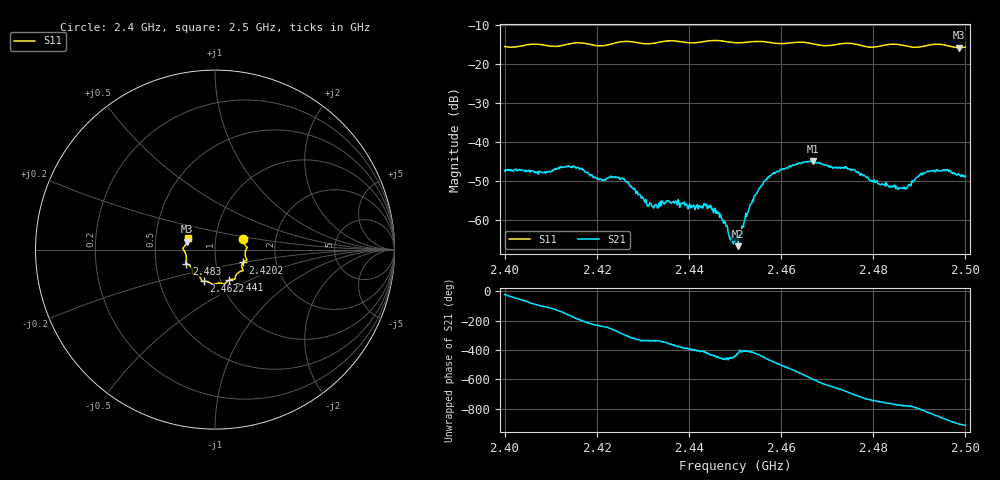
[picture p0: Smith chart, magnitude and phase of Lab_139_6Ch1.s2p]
# Hz S RI R 50
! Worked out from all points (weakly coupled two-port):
!   601 points, 2.4 GHz to 2.5 GHz, reference 50 ohm
!   highest |S21| = -44.83 dB at 2.4668 GHz (marker M1); lowest = -66.7 dB at 2.4507 GHz (marker M2)
!   lowest |S11| = -15.8 dB at 2.4987 GHz (marker M3), VSWR 1.39, Z = 36.4 + j3.29 ohm
!   |S11| at or under -10 dB: start of sweep to end of sweep
!   S12 and S22 are empty: the file has one direction only
!   S11 on the Smith chart (normalised r, x): 2.4 GHz: 1.36, +0.17; 2.4202 GHz: 1.35, -0.20; 2.441 GHz: 1.09, -0.39; 2.4622 GHz: 0.83, -0.30; 2.483 GHz: 0.72, -0.12; 2.5 GHz: 0.73, +0.09
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2.4e9  0.1562 0.0606  0.0039 -0.00165  0 0  0 0
2.416667e9  0.1775 -0.0582  -0.00427 0.0015  0 0  0 0
2.420167e9  0.1561 -0.0718  -0.00205 0.00277  0 0  0 0
2.425667e9  0.1569 -0.1152  0.00129 0.00317  0 0  0 0
2.430833e9  0.1268 -0.1307  0.0015 0.000545  0 0  0 0
2.433333e9  0.1128 -0.1523  0.00131 0.000588  0 0  0 0
2.441e9  0.0769 -0.1707  0.00125 -0.000936  0 0  0 0
2.446e9  0.0517 -0.1939  -4.18e-05 -0.00132  0 0  0 0
2.449167e9  0.0347 -0.1871  -5.34e-05 -0.000544  0 0  0 0
2.45e9  0.0268 -0.1862  4.26e-05 -0.000532  0 0  0 0
2.450667e9  0.0202 -0.1864  0.000193 -0.000419  0 0  0 0
2.453833e9  -0.00514 -0.1942  0.00106 -0.00148  0 0  0 0
2.455833e9  -0.0133 -0.1944  0.000451 -0.00276  0 0  0 0
2.462167e9  -0.0631 -0.1763  -0.00475 -0.000755  0 0  0 0
2.466667e9  -0.0764 -0.1669  -0.00317 0.00469  0 0  0 0
2.466833e9  -0.0768 -0.1658  -0.003 0.00489  0 0  0 0
2.483e9  -0.1593 -0.078  0.00215 -0.00188  0 0  0 0
2.483333e9  -0.1608 -0.0773  0.00196 -0.00188  0 0  0 0
2.487e9  -0.1606 -0.0595  0.00128 -0.00222  0 0  0 0
2.492667e9  -0.1776 0.0017  -0.00164 -0.00398  0 0  0 0
2.498667e9  -0.1559 0.044  -0.00378 0.000317  0 0  0 0
2.5e9  -0.1531 0.0628  -0.00353 0.000844  0 0  0 0
